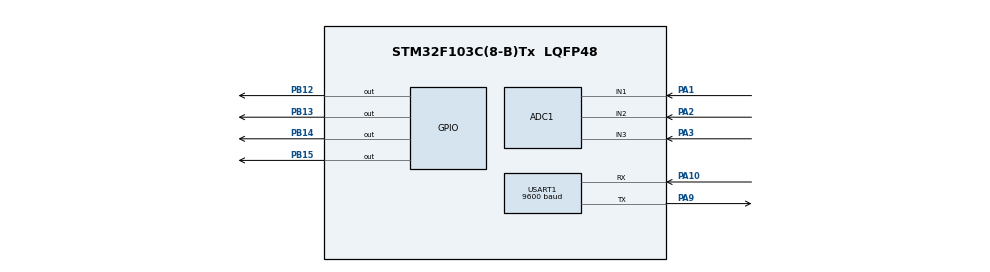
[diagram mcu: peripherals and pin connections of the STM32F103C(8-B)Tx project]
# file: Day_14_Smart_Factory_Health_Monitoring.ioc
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ADC1.Channel-0\#ChannelRegularConversion=ADC_CHANNEL_1
ADC1.NbrOfConversionFlag=1
ADC1.Rank-0\#ChannelRegularConversion=1
ADC1.SamplingTime-0\#ChannelRegularConversion=ADC_SAMPLETIME_1CYCLE_5
ADC1.master=1
Mcu.Family=STM32F1
Mcu.Name=STM32F103C(8-B)Tx
Mcu.Package=LQFP48
NVIC.PriorityGroup=NVIC_PRIORITYGROUP_4
PA1.Signal=ADCx_IN1
PA10.Mode=Asynchronous
PA10.Signal=USART1_RX
PA2.Signal=ADCx_IN2
PA3.Signal=ADCx_IN3
PA9.Mode=Asynchronous
PA9.Signal=USART1_TX
PB12.Signal=GPIO_Output
PB13.Signal=GPIO_Output
PB14.Signal=GPIO_Output
PB15.Signal=GPIO_Output
ProjectManager.HeapSize=0x200
ProjectManager.StackSize=0x400
ProjectManager.TargetToolchain=STM32CubeIDE
RCC.APB1Freq_Value=8000000
RCC.APB2Freq_Value=8000000
SH.ADCx_IN1.0=ADC1_IN1,IN1
SH.ADCx_IN2.0=ADC1_IN2,IN2
SH.ADCx_IN3.0=ADC1_IN3,IN3
USART1.BaudRate=9600
USART1.VirtualMode=VM_ASYNC
VP_SYS_VS_ND.Mode=No_Debug
board=custom

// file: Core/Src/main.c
/* USER CODE BEGIN Header */
/**
  ******************************************************************************
  * @file           : main.c
  * @brief          : Main program body
  ******************************************************************************
  * @attention
  *
  * Copyright (c) 2026 STMicroelectronics.
  * All rights reserved.
  *
  * This software is licensed under terms that can be found in the LICENSE file
  * in the root directory of this software component.
  * If no LICENSE file comes with this software, it is provided AS-IS.
  *
  ******************************************************************************
  */
/* USER CODE END Header */
#include "main.h"
#include <stdio.h>
#include <string.h>

ADC_HandleTypeDef hadc1;

UART_HandleTypeDef huart1;

/* USER CODE BEGIN PV */
uint32_t gas_value = 0;
uint32_t temp_value = 0;
uint32_t distance_value = 0;

uint32_t health_score = 100;

char factory_status[20];

char uart_buffer[300];

/* USER CODE END PV */

void SystemClock_Config(void);
static void MX_GPIO_Init(void);
static void MX_ADC1_Init(void);
static void MX_USART1_UART_Init(void);
/* USER CODE BEGIN PFP */
uint32_t Read_ADC(uint32_t channel);

void Calculate_Health(void);

void Send_Report(void);

/* USER CODE END PFP */

int main(void)
{

  /* MCU Configuration--------------------------------------------------------*/

  /* Reset of all peripherals, Initializes the Flash interface and the Systick. */
  HAL_Init();

  /* Configure the system clock */
  SystemClock_Config();

  /* Initialize all configured peripherals */
  MX_GPIO_Init();
  MX_ADC1_Init();
  MX_USART1_UART_Init();
  /* USER CODE BEGIN 2 */
  HAL_ADCEx_Calibration_Start(&hadc1);

  /* USER CODE END 2 */

  /* Infinite loop */
  /* USER CODE BEGIN WHILE */
  while(1)
  {
      gas_value =
          (Read_ADC(ADC_CHANNEL_1) * 100) / 4095;

      temp_value =
          (Read_ADC(ADC_CHANNEL_2) * 100) / 4095;

      distance_value =
          (Read_ADC(ADC_CHANNEL_3) * 100) / 4095;

      if(gas_value > 60)
          HAL_GPIO_WritePin(GPIOB,
                            GPIO_PIN_12,
                            GPIO_PIN_SET);
      else
          HAL_GPIO_WritePin(GPIOB,
                            GPIO_PIN_12,
                            GPIO_PIN_RESET);

      if(temp_value > 70)
          HAL_GPIO_WritePin(GPIOB,
                            GPIO_PIN_13,
                            GPIO_PIN_SET);
      else
          HAL_GPIO_WritePin(GPIOB,
                            GPIO_PIN_13,
                            GPIO_PIN_RESET);

      if(distance_value < 30)
          HAL_GPIO_WritePin(GPIOB,
                            GPIO_PIN_14,
                            GPIO_PIN_SET);
      else
          HAL_GPIO_WritePin(GPIOB,
                            GPIO_PIN_14,
                            GPIO_PIN_RESET);

      Calculate_Health();

      if(strcmp(factory_status,
                "CRITICAL") == 0)
      {
          HAL_GPIO_WritePin(GPIOB,
                            GPIO_PIN_15,
                            GPIO_PIN_SET);
      }
      else
      {
          HAL_GPIO_WritePin(GPIOB,
                            GPIO_PIN_15,
                            GPIO_PIN_RESET);
      }

      Send_Report();

      HAL_Delay(1000);
  }
  /* USER CODE END 3 */
}

void SystemClock_Config(void)
{
  RCC_OscInitTypeDef RCC_OscInitStruct = {0};
  RCC_ClkInitTypeDef RCC_ClkInitStruct = {0};
  RCC_PeriphCLKInitTypeDef PeriphClkInit = {0};

  /** Initializes the RCC Oscillators according to the specified parameters
  * in the RCC_OscInitTypeDef structure.
  */
  RCC_OscInitStruct.OscillatorType = RCC_OSCILLATORTYPE_HSI;
  RCC_OscInitStruct.HSIState = RCC_HSI_ON;
  RCC_OscInitStruct.HSICalibrationValue = RCC_HSICALIBRATION_DEFAULT;
  RCC_OscInitStruct.PLL.PLLState = RCC_PLL_NONE;
  if (HAL_RCC_OscConfig(&RCC_OscInitStruct) != HAL_OK)
  {
    Error_Handler();
  }

  /** Initializes the CPU, AHB and APB buses clocks
  */
  RCC_ClkInitStruct.ClockType = RCC_CLOCKTYPE_HCLK|RCC_CLOCKTYPE_SYSCLK
                              |RCC_CLOCKTYPE_PCLK1|RCC_CLOCKTYPE_PCLK2;
  RCC_ClkInitStruct.SYSCLKSource = RCC_SYSCLKSOURCE_HSI;
  RCC_ClkInitStruct.AHBCLKDivider = RCC_SYSCLK_DIV1;
  RCC_ClkInitStruct.APB1CLKDivider = RCC_HCLK_DIV1;
  RCC_ClkInitStruct.APB2CLKDivider = RCC_HCLK_DIV1;

  if (HAL_RCC_ClockConfig(&RCC_ClkInitStruct, FLASH_LATENCY_0) != HAL_OK)
  {
    Error_Handler();
  }
  PeriphClkInit.PeriphClockSelection = RCC_PERIPHCLK_ADC;
  PeriphClkInit.AdcClockSelection = RCC_ADCPCLK2_DIV2;
  if (HAL_RCCEx_PeriphCLKConfig(&PeriphClkInit) != HAL_OK)
  {
    Error_Handler();
  }
}

static void MX_ADC1_Init(void)
{

  ADC_ChannelConfTypeDef sConfig = {0};

  /** Common config
  */
  hadc1.Instance = ADC1;
  hadc1.Init.ScanConvMode = ADC_SCAN_DISABLE;
  hadc1.Init.ContinuousConvMode = DISABLE;
  hadc1.Init.DiscontinuousConvMode = DISABLE;
  hadc1.Init.ExternalTrigConv = ADC_SOFTWARE_START;
  hadc1.Init.DataAlign = ADC_DATAALIGN_RIGHT;
  hadc1.Init.NbrOfConversion = 1;
  if (HAL_ADC_Init(&hadc1) != HAL_OK)
  {
    Error_Handler();
  }

  /** Configure Regular Channel
  */
  sConfig.Channel = ADC_CHANNEL_1;
  sConfig.Rank = ADC_REGULAR_RANK_1;
  sConfig.SamplingTime = ADC_SAMPLETIME_1CYCLE_5;
  if (HAL_ADC_ConfigChannel(&hadc1, &sConfig) != HAL_OK)
  {
    Error_Handler();
  }

}

static void MX_USART1_UART_Init(void)
{

  huart1.Instance = USART1;
  huart1.Init.BaudRate = 9600;
  huart1.Init.WordLength = UART_WORDLENGTH_8B;
  huart1.Init.StopBits = UART_STOPBITS_1;
  huart1.Init.Parity = UART_PARITY_NONE;
  huart1.Init.Mode = UART_MODE_TX_RX;
  huart1.Init.HwFlowCtl = UART_HWCONTROL_NONE;
  huart1.Init.OverSampling = UART_OVERSAMPLING_16;
  if (HAL_UART_Init(&huart1) != HAL_OK)
  {
    Error_Handler();
  }

}

static void MX_GPIO_Init(void)
{
  GPIO_InitTypeDef GPIO_InitStruct = {0};

  /* GPIO Ports Clock Enable */
  __HAL_RCC_GPIOA_CLK_ENABLE();
  __HAL_RCC_GPIOB_CLK_ENABLE();

  /*Configure GPIO pin Output Level */
  HAL_GPIO_WritePin(GPIOB, GPIO_PIN_12|GPIO_PIN_13|GPIO_PIN_14|GPIO_PIN_15, GPIO_PIN_RESET);

  /*Configure GPIO pins : PB12 PB13 PB14 PB15 */
  GPIO_InitStruct.Pin = GPIO_PIN_12|GPIO_PIN_13|GPIO_PIN_14|GPIO_PIN_15;
  GPIO_InitStruct.Mode = GPIO_MODE_OUTPUT_PP;
  GPIO_InitStruct.Pull = GPIO_NOPULL;
  GPIO_InitStruct.Speed = GPIO_SPEED_FREQ_LOW;
  HAL_GPIO_Init(GPIOB, &GPIO_InitStruct);

}

/* USER CODE BEGIN 4 */
uint32_t Read_ADC(uint32_t channel)
{
    ADC_ChannelConfTypeDef sConfig = {0};

    sConfig.Channel = channel;
    sConfig.Rank = ADC_REGULAR_RANK_1;
    sConfig.SamplingTime = ADC_SAMPLETIME_71CYCLES_5;

    HAL_ADC_ConfigChannel(&hadc1, &sConfig);

    HAL_ADC_Start(&hadc1);

    HAL_ADC_PollForConversion(&hadc1,
                              HAL_MAX_DELAY);

    return HAL_ADC_GetValue(&hadc1);
}
void Calculate_Health(void)
{
    health_score = 100;

    if(gas_value > 60)
        health_score -= 20;

    if(temp_value > 70)
        health_score -= 20;

    if(distance_value < 30)
        health_score -= 20;

    if(health_score >= 80)
    {
        strcpy(factory_status,
               "HEALTHY");
    }
    else if(health_score >= 50)
    {
        strcpy(factory_status,
               "WARNING");
    }
    else
    {
        strcpy(factory_status,
               "CRITICAL");
    }
}
void Send_Report(void)
{
    sprintf(uart_buffer,

"\r\n===== FACTORY HEALTH DASHBOARD =====\r\n"
"Gas Value       : %lu %%\r\n"
"Temp Value      : %lu %%\r\n"
"Distance Value  : %lu %%\r\n"
"\r\n"
"Health Score    : %lu %%\r\n"
"Factory Status  : %s\r\n"
"====================================\r\n",

gas_value,
temp_value,
distance_value,
health_score,
factory_status);

    HAL_UART_Transmit(&huart1,
                      (uint8_t*)uart_buffer,
                      strlen(uart_buffer),
                      HAL_MAX_DELAY);
}
/* USER CODE END 4 */

void Error_Handler(void)
{
  __disable_irq();
  while (1)
  {
  }
}
